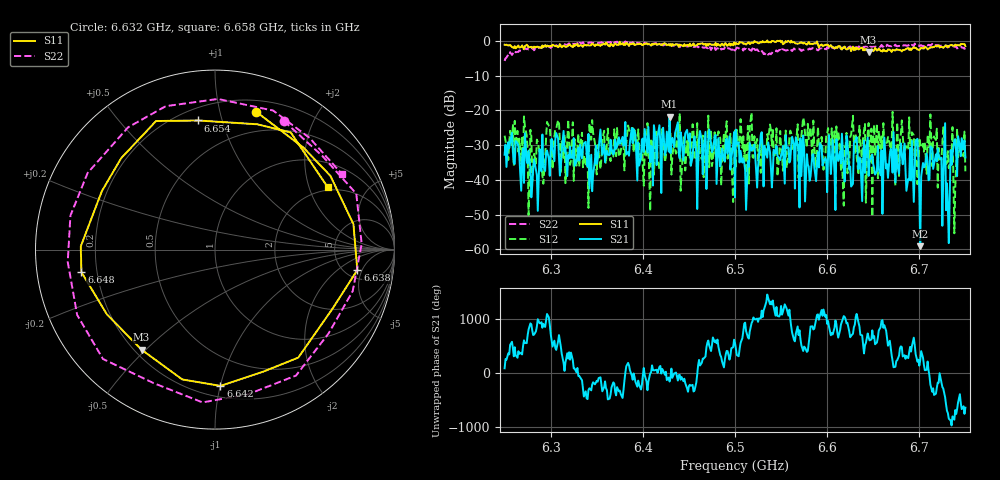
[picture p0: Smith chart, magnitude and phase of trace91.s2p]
# Hz S RI R 50
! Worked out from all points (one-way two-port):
!   401 points, 6.25 GHz to 6.75 GHz, reference 50 ohm
!   highest |S21| = -21.75 dB at 6.429 GHz (marker M1); lowest = -59.0 dB at 6.701 GHz (marker M2)
!   lowest |S11| = -3.2 dB at 6.645 GHz (marker M3), VSWR 5.49, Z = 11.4 - j24.3 ohm
!   |S11| at or under -10 dB: nowhere
!   |S22| runs from -5.8 to -0.1 dB; largest |S21 - S12| = 0.11
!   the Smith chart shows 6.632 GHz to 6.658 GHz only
!   S11 on the Smith chart (normalised r, x): 6.632 GHz: 0.30, +1.30; 6.638 GHz: 6.43, -4.08; 6.642 GHz: 0.28, -1.00; 6.648 GHz: 0.14, -0.08; 6.654 GHz: 0.28, +0.84; 6.658 GHz: 1.87, +2.68
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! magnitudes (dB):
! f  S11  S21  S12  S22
! 6.25 GHz  -1.1  -32.8  -27.3  -5.8
! 6.334 GHz  -1.4  -33.8  -26.4  -0.7
! 6.345 GHz  -0.8  -43.2  -22.8  -0.7
! 6.386 GHz  -0.9  -29.1  -26.1  -0.5
! 6.418 GHz  -0.9  -24.3  -36.9  -0.6
! 6.429 GHz  -1.3  -21.8  -24.2  -1.2
! 6.5 GHz  -1.1  -45.0  -25.8  -2.8
! 6.584 GHz  -0.9  -32.7  -33.8  -2.1
! 6.632 GHz  -1.9  -27.7  -33.3  -1.8
! 6.638 GHz  -1.9  -46.1  -35.0  -1.9
! 6.642 GHz  -2.4  -32.9  -46.5  -1.4
! 6.645 GHz  -3.2  -38.8  -23.6  -1.2
! 6.648 GHz  -2.4  -33.4  -25.2  -1.7
! 6.654 GHz  -2.8  -37.4  -23.8  -1.5
! 6.658 GHz  -2.9  -38.7  -31.1  -1.7
! 6.668 GHz  -2.5  -32.6  -29.7  -1.5
! 6.698 GHz  -2.5  -28.2  -41.2  -1.2
! 6.701 GHz  -2.4  -59.0  -29.5  -1.4
! 6.72 GHz  -1.5  -31.0  -42.2  -1.4
! 6.731 GHz  -1.9  -48.1  -31.7  -1.4
! 6.736 GHz  -1.3  -32.6  -24.8  -1.5
! 6.75 GHz  -1.5  -33.5  -37.5  -2.1
